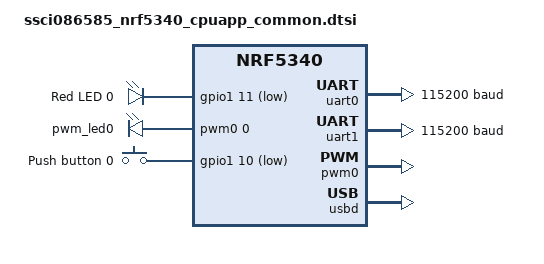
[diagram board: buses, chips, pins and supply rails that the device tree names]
/*
 * Copyright (c) 2023 Raytac Corporation
 *
 * SPDX-License-Identifier: Apache-2.0
 */
#include "ssci086585_nrf5340_cpuapp_common-pinctrl.dtsi"
#include <zephyr/dt-bindings/input/input-event-codes.h>

/ {

	chosen {
		zephyr,console = &uart0;
		zephyr,shell-uart = &uart0;
		zephyr,uart-mcumgr = &uart0;
		zephyr,bt-mon-uart = &uart0;
		zephyr,bt-c2h-uart = &uart0;
		zephyr,bt-hci-ipc = &ipc0;
		nordic,802154-spinel-ipc = &ipc0;
		zephyr,ieee802154 = &ieee802154;
	};

	leds {
		compatible = "gpio-leds";
		led0: led_0 {
			gpios = <&gpio1 11 GPIO_ACTIVE_LOW>;
			label = "Red LED 0";
		};
	};

	pwmleds {
		compatible = "pwm-leds";
		pwm_led0: pwm_led_0 {
			pwms = <&pwm0 0 PWM_MSEC(20) PWM_POLARITY_INVERTED>;
		};
	};

	buttons {
		compatible = "gpio-keys";
		button0: button_0 {
			gpios = <&gpio1 10 GPIO_ACTIVE_LOW>;
			label = "Push button 0";
		};
	};

	/* These aliases are provided for compatibility with samples */
	aliases {
		led0 = &led0;
		pwm-led0 = &pwm_led0;
		sw0 = &button0;
		bootloader-led0 = &led0;
		mcuboot-button0 = &button0;
		mcuboot-led0 = &led0;
		watchdog0 = &wdt0;
	};
};

&gpiote {
	status = "okay";
};

&gpio0 {
	status = "okay";
};

&gpio1 {
	status = "okay";
};

&i2c1 {
	compatible = "nordic,nrf-twim";
	pinctrl-0 = <&i2c1_default>;
	pinctrl-1 = <&i2c1_sleep>;
	pinctrl-names = "default", "sleep";
};

&uart0 {
	current-speed = <115200>;
	pinctrl-0 = <&uart0_default>;
	pinctrl-1 = <&uart0_sleep>;
	pinctrl-names = "default", "sleep";
};

&uart1 {
	compatible = "nordic,nrf-uarte";
	current-speed = <115200>;
	pinctrl-0 = <&uart1_default>;
	pinctrl-1 = <&uart1_sleep>;
	pinctrl-names = "default", "sleep";
};

&pwm0 {
	status = "okay";
	pinctrl-0 = <&pwm0_default>;
	pinctrl-1 = <&pwm0_sleep>;
	pinctrl-names = "default", "sleep";
};

// &qspi {
// 	pinctrl-0 = <&qspi_default>;
// 	pinctrl-1 = <&qspi_sleep>;
// 	pinctrl-names = "default", "sleep";
// };

// &spi2 {
// 	compatible = "nordic,nrf-spim";
// 	cs-gpios = <&gpio0 25 GPIO_ACTIVE_LOW>;

// 	pinctrl-0 = <&spi2_default>;
// 	pinctrl-1 = <&spi2_sleep>;
// 	pinctrl-names = "default", "sleep";
// };

// &spi3 {
// 	compatible = "nordic,nrf-spim";
// 	cs-gpios = <&gpio1 12 GPIO_ACTIVE_LOW>;

// 	pinctrl-0 = <&spi3_default>;
// 	pinctrl-1 = <&spi3_sleep>;
// 	pinctrl-names = "default", "sleep";
// };

// &spi4 {
// 	compatible = "nordic,nrf-spim";
// 	cs-gpios = <&gpio0 11 GPIO_ACTIVE_LOW>;

// 	pinctrl-0 = <&spi4_default>;
// 	pinctrl-1 = <&spi4_sleep>;
// 	pinctrl-names = "default", "sleep";
// };

&flash0 {

	partitions {
		compatible = "fixed-partitions";
		#address-cells = <1>;
		#size-cells = <1>;

		boot_partition: partition@0 {
			label = "mcuboot";
			reg = <0x00000000 0x00010000>;
		};
		slot0_partition: partition@10000 {
			label = "image-0";
		};
		slot0_ns_partition: partition@50000 {
			label = "image-0-nonsecure";
		};
		slot1_partition: partition@80000 {
			label = "image-1";
		};
		slot1_ns_partition: partition@c0000 {
			label = "image-1-nonsecure";
		};
	};
};

zephyr_udc0: &usbd {
	compatible = "nordic,nrf-usbd";
	status = "okay";
};

/ {

	reserved-memory {
		#address-cells = <1>;
		#size-cells = <1>;
		ranges;

		sram0_image: image@20000000 {
			/* Zephyr image(s) memory */
		};

		sram0_s: image_s@20000000 {
			/* Secure image memory */
		};

		sram0_ns: image_ns@20040000 {
			/* Non-Secure image memory */
		};
	};
};

/* Include partition configuration file */
#include "ssci086585_nrf5340_cpuapp_partition_conf.dts"
